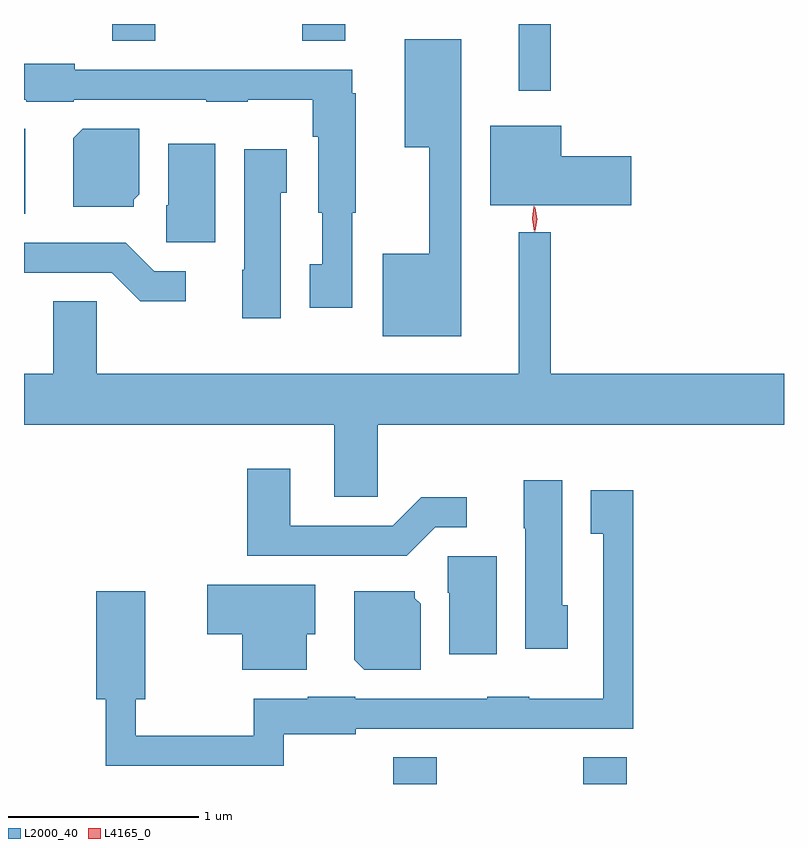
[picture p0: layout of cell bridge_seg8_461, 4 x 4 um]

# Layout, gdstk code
import gdstk
lib = gdstk.Library(unit=1e-6, precision=1e-09)
def R(c, l, rs):  # rectangles x0, y0, x1, y1
    for r in rs: c.add(gdstk.rectangle(r[:2], r[2:], *l))
def P(c, l, *ps):  # polygons
    for p in ps: c.add(gdstk.Polygon(p, *l))
L2000_40 = (2000, 40)
L4165_0 = (4165, 0)

bridge_seg8_461 = lib.new_cell('bridge_seg8_461')
R(bridge_seg8_461, L2000_40, [(597.561,1894.464,597.789,1894.604), (598.561,1894.464,598.789,1894.604), (595.617,1897.466,595.624,1897.914), (598.221,1898.113,598.389,1898.464), (596.081,1898.376,596.309,1898.464), (597.081,1898.376,597.309,1898.464)])
P(bridge_seg8_461, L2000_40, [(597.919,1898.384),(597.621,1898.384),(597.621,1897.816),(597.751,1897.816),(597.751,1897.254),(597.506,1897.254),(597.506,1896.821),(597.919,1896.821)],
  [(597.344,1897.471),(597.364,1897.471),(597.364,1898.099),(597.344,1898.099),(597.344,1898.224),(595.884,1898.224),(595.884,1898.254),(595.617,1898.254),(595.617,1898.066),(595.63,1898.066),(595.63,1898.056),(595.88,1898.056),(595.88,1898.066),(596.575,1898.066),(596.575,1898.056),(596.795,1898.056),(596.795,1898.066),(597.136,1898.066),(597.136,1897.871),(597.166,1897.871),(597.166,1897.471),(597.186,1897.471),(597.186,1897.199),(597.121,1897.199),(597.121,1896.971),(597.344,1896.971)],
  [(598.814,1897.769),(598.444,1897.769),(598.444,1897.929),(598.071,1897.929),(598.071,1897.511),(598.814,1897.511)],
  [(596.194,1897.539),(596.224,1897.569),(596.224,1897.914),(595.927,1897.914),(595.876,1897.864),(595.876,1897.501),(596.194,1897.501)],
  [(596.624,1897.834),(596.376,1897.834),(596.376,1897.51),(596.366,1897.51),(596.366,1897.316),(596.624,1897.316)],
  [(596.969,1897.576),(596.999,1897.576),(596.999,1897.804),(596.776,1897.804),(596.776,1897.17),(596.766,1897.17),(596.766,1896.916),(596.969,1896.916)],
  [(597.479,1896.356),(599.617,1896.356),(599.617,1896.624),(598.389,1896.624),(598.389,1897.368),(598.221,1897.368),(598.221,1896.624),(595.999,1896.624),(595.999,1897.004),(595.771,1897.004),(595.771,1896.624),(595.617,1896.624),(595.617,1896.356),(597.251,1896.356),(597.251,1895.976),(597.479,1895.976)],
  [(596.468,1897.164),(596.302,1897.164),(596.152,1897.314),(595.617,1897.314),(595.617,1897.156),(596.079,1897.156),(596.229,1897.006),(596.468,1897.006)],
  [(597.782,1895.816),(597.948,1895.816),(597.948,1895.974),(597.709,1895.974),(597.559,1895.824),(597.019,1895.824),(597.019,1896.124),(596.791,1896.124),(596.791,1895.666),(597.632,1895.666)],
  [(598.479,1895.404),(598.449,1895.404),(598.449,1896.064),(598.246,1896.064),(598.246,1895.81),(598.256,1895.81),(598.256,1895.176),(598.479,1895.176)],
  [(596.984,1894.726),(597.364,1894.726),(597.364,1894.756),(598.824,1894.756),(598.824,1896.009),(598.601,1896.009),(598.601,1895.781),(598.666,1895.781),(598.666,1894.914),(598.275,1894.914),(598.275,1894.924),(598.055,1894.924),(598.055,1894.914),(597.36,1894.914),(597.36,1894.924),(597.11,1894.924),(597.11,1894.914),(596.826,1894.914),(596.826,1894.719),(596.204,1894.719),(596.204,1894.911),(596.254,1894.911),(596.254,1895.479),(595.996,1895.479),(595.996,1894.911),(596.046,1894.911),(596.046,1894.561),(596.984,1894.561)],
  [(598.104,1895.664),(597.846,1895.664),(597.846,1895.47),(597.856,1895.47),(597.856,1895.146),(598.104,1895.146)],
  [(597.104,1895.251),(597.149,1895.251),(597.149,1895.514),(596.581,1895.514),(596.581,1895.251),(596.766,1895.251),(596.766,1895.066),(597.104,1895.066)],
  [(597.704,1895.412),(597.674,1895.442),(597.674,1895.479),(597.356,1895.479),(597.356,1895.117),(597.407,1895.066),(597.704,1895.066)])
P(bridge_seg8_461, L4165_0, [(598.302,1897.37),(598.302,1897.37),(598.292,1897.438),(598.301,1897.505),(598.301,1897.506),(598.302,1897.505),(598.312,1897.438),(598.302,1897.37)],
  [(598.307,1897.373),(598.307,1897.374),(598.298,1897.436),(598.307,1897.5),(598.307,1897.5),(598.308,1897.5),(598.317,1897.436),(598.308,1897.374)])

lib.write_gds('bridge_seg8_461.gds')
